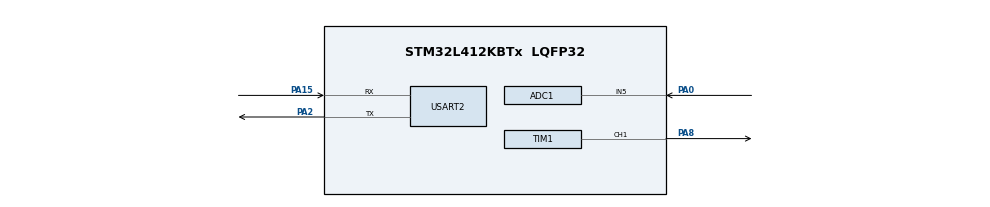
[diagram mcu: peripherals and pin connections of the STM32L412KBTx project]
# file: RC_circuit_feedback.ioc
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Mcu.Family=STM32L4
RCC.MSI_VALUE=4000000
ADC1.Rank-0\#ChannelRegularConversion=1
ADC1.ContinuousConvMode=ENABLE
ADC1.OffsetNumber-0\#ChannelRegularConversion=ADC_OFFSET_NONE
PA15\ (JTDI).Signal=USART2_RX
ProjectManager.StackSize=0x400
TIM1.AutoReloadPreload=TIM_AUTORELOAD_PRELOAD_ENABLE
PA15\ (JTDI).Mode=Asynchronous
TIM1.Prescaler=64
SH.S_TIM1_CH1.0=TIM1_CH1,PWM Generation1 CH1
ProjectManager.TargetToolchain=STM32CubeIDE
RCC.USBFreq_Value=4000000
RCC.LSE_VALUE=32768
ADC1.Channel-0\#ChannelRegularConversion=ADC_CHANNEL_5
RCC.HSE_VALUE=8000000
board=custom
USART2.VirtualMode-Asynchronous=VM_ASYNC
RCC.VCOOutputFreq_Value=32000000
PA0-CK_IN.Signal=ADCx_IN5
TIM1.Channel-PWM\ Generation1\ CH1=TIM_CHANNEL_1
RCC.ADCFreq_Value=4000000
PA8.Signal=S_TIM1_CH1
ADC1.DMAContinuousRequests=DISABLE
Mcu.Name=STM32L412KBTx
VP_TIM1_VS_ClockSourceINT.Mode=Internal
ADC1.SamplingTime-0\#ChannelRegularConversion=ADC_SAMPLETIME_2CYCLES_5
PA2.Signal=USART2_TX
Mcu.Package=LQFP32
ADC1.master=1
ProjectManager.HeapSize=0x200
RCC.HSI_VALUE=16000000
SH.ADCx_IN5.0=ADC1_IN5,IN5-Single-Ended
NVIC.PriorityGroup=NVIC_PRIORITYGROUP_4
ADC1.NbrOfConversionFlag=1
PA2.Mode=Asynchronous
RCC.HSI48_VALUE=48000000

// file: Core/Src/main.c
/* USER CODE BEGIN Header */
/**
  ******************************************************************************
  * @file           : main.c
  * @brief          : Main program body
  ******************************************************************************
  * @attention
  *
  * <h2><center>&copy; Copyright (c) 2023 STMicroelectronics.
  * All rights reserved.</center></h2>
  *
  * This software component is licensed by ST under BSD 3-Clause license,
  * the "License"; You may not use this file except in compliance with the
  * License. You may obtain a copy of the License at:
  *                        opensource.org/licenses/BSD-3-Clause
  *
  ******************************************************************************
  */
/* USER CODE END Header */
#include "main.h"

/* USER CODE BEGIN Includes */
#include "config.h"
#include "pwm_user.h"
#include "adc_user.h"
#include "messaging_user.h"
#include "pid_controller_user.h"
/* USER CODE END Includes */

/* USER CODE BEGIN PD */

#define SAMPLE_PERIOD_MS ( 1u )

/* USER CODE END PD */

ADC_HandleTypeDef hadc1;

TIM_HandleTypeDef htim1;

UART_HandleTypeDef huart2;

/* USER CODE BEGIN PV */

// Voltage values
float adc1_voltage[ADC_BUFFER_LENGTH] = {0.0f};

// If an RTOS was implemented, this may be replaced with a Semaphore
static bool data_to_process = false;

// Set when the ADC data has been processed
static bool queue_is_loaded = false;

// The voltage to achieve across the capacitor
float set_point = 3.6f;
float composite_term = 0.0f;
float adjusted_duty_cycle = 0.0f;

/* USER CODE END PV */

void SystemClock_Config(void);
static void MX_GPIO_Init(void);
static void MX_ADC1_Init(void);
static void MX_TIM1_Init(void);
static void MX_USART2_UART_Init(void);
/* USER CODE BEGIN PFP */

static float calculate_duty_cycle_from_error( float error );

/* USER CODE END PFP */

int main(void)
{

  /* MCU Configuration--------------------------------------------------------*/

  /* Reset of all peripherals, Initializes the Flash interface and the Systick. */
  HAL_Init();

  /* Configure the system clock */
  SystemClock_Config();

  /* Initialize all configured peripherals */
  MX_GPIO_Init();
  MX_ADC1_Init();
  MX_TIM1_Init();
  MX_USART2_UART_Init();
  /* USER CODE BEGIN 2 */

  // Initialize data structures in the ADC module
  adc_init_adc_module();

  // Start PWM
  HAL_StatusTypeDef status = HAL_TIM_PWM_Start( &htim1, TIM_CHANNEL_1 );
  assert( HAL_OK == status );

#ifdef TEST_MODE
  TIM1->CCR1 = pwm_calculate_CCRx( PWM_DUTY_CYCLE, PWM_ARRX );
#endif

  /* USER CODE END 2 */

  /* Infinite loop */
  /* USER CODE BEGIN WHILE */
  while (1)
  {
	if( data_to_process )
	{
		// Sampling
		process_adc_output_codes( adc1_voltage, ADC_BUFFER_LENGTH );
		data_to_process = false;

#ifndef TEST_MODE
		// Calculate and set duty cycle from the composite error term
		composite_term = calculate_composite( adc1_voltage, ADC_BUFFER_LENGTH, set_point );
		adjusted_duty_cycle = calculate_duty_cycle_from_error( composite_term );
		TIM1->CCR1 = pwm_calculate_CCRx( adjusted_duty_cycle, PWM_ARRX );
#endif

		// Data transfer
		convert_data_to_messages_and_queue( adc1_voltage, ADC_BUFFER_LENGTH );
		queue_is_loaded = true;
	}

	if( queue_is_loaded )
	{
		empty_queue( &huart2 );
		queue_is_loaded = false;
	}

	// Poll the ADC
	uint16_t conversion_result = poll_adc( &hadc1 );
	data_to_process = add_to_adc_buffer( conversion_result );

	// Wait until the next sample time
	HAL_Delay( SAMPLE_PERIOD_MS );
    /* USER CODE END WHILE */

  }
}

void SystemClock_Config(void)
{
  RCC_OscInitTypeDef RCC_OscInitStruct = {0};
  RCC_ClkInitTypeDef RCC_ClkInitStruct = {0};
  RCC_PeriphCLKInitTypeDef PeriphClkInit = {0};

  /** Configure the main internal regulator output voltage
  */
  if (HAL_PWREx_ControlVoltageScaling(PWR_REGULATOR_VOLTAGE_SCALE1) != HAL_OK)
  {
    Error_Handler();
  }
  /** Initializes the RCC Oscillators according to the specified parameters
  * in the RCC_OscInitTypeDef structure.
  */
  RCC_OscInitStruct.OscillatorType = RCC_OSCILLATORTYPE_MSI;
  RCC_OscInitStruct.MSIState = RCC_MSI_ON;
  RCC_OscInitStruct.MSICalibrationValue = 0;
  RCC_OscInitStruct.MSIClockRange = RCC_MSIRANGE_6;
  RCC_OscInitStruct.PLL.PLLState = RCC_PLL_NONE;
  if (HAL_RCC_OscConfig(&RCC_OscInitStruct) != HAL_OK)
  {
    Error_Handler();
  }
  /** Initializes the CPU, AHB and APB buses clocks
  */
  RCC_ClkInitStruct.ClockType = RCC_CLOCKTYPE_HCLK|RCC_CLOCKTYPE_SYSCLK
                              |RCC_CLOCKTYPE_PCLK1|RCC_CLOCKTYPE_PCLK2;
  RCC_ClkInitStruct.SYSCLKSource = RCC_SYSCLKSOURCE_MSI;
  RCC_ClkInitStruct.AHBCLKDivider = RCC_SYSCLK_DIV1;
  RCC_ClkInitStruct.APB1CLKDivider = RCC_HCLK_DIV1;
  RCC_ClkInitStruct.APB2CLKDivider = RCC_HCLK_DIV1;

  if (HAL_RCC_ClockConfig(&RCC_ClkInitStruct, FLASH_LATENCY_0) != HAL_OK)
  {
    Error_Handler();
  }
  PeriphClkInit.PeriphClockSelection = RCC_PERIPHCLK_USART2|RCC_PERIPHCLK_ADC;
  PeriphClkInit.Usart2ClockSelection = RCC_USART2CLKSOURCE_PCLK1;
  if (HAL_RCCEx_PeriphCLKConfig(&PeriphClkInit) != HAL_OK)
  {
    Error_Handler();
  }
}

static void MX_ADC1_Init(void)
{

  ADC_MultiModeTypeDef multimode = {0};
  ADC_ChannelConfTypeDef sConfig = {0};

  /** Common config
  */
  hadc1.Instance = ADC1;
  hadc1.Init.ClockPrescaler = ADC_CLOCK_ASYNC_DIV1;
  hadc1.Init.Resolution = ADC_RESOLUTION_12B;
  hadc1.Init.DataAlign = ADC_DATAALIGN_RIGHT;
  hadc1.Init.ScanConvMode = ADC_SCAN_DISABLE;
  hadc1.Init.EOCSelection = ADC_EOC_SINGLE_CONV;
  hadc1.Init.LowPowerAutoWait = DISABLE;
  hadc1.Init.ContinuousConvMode = ENABLE;
  hadc1.Init.NbrOfConversion = 1;
  hadc1.Init.DiscontinuousConvMode = DISABLE;
  hadc1.Init.ExternalTrigConv = ADC_SOFTWARE_START;
  hadc1.Init.ExternalTrigConvEdge = ADC_EXTERNALTRIGCONVEDGE_NONE;
  hadc1.Init.DMAContinuousRequests = DISABLE;
  hadc1.Init.Overrun = ADC_OVR_DATA_PRESERVED;
  hadc1.Init.OversamplingMode = DISABLE;
  if (HAL_ADC_Init(&hadc1) != HAL_OK)
  {
    Error_Handler();
  }
  /** Configure the ADC multi-mode
  */
  multimode.Mode = ADC_MODE_INDEPENDENT;
  if (HAL_ADCEx_MultiModeConfigChannel(&hadc1, &multimode) != HAL_OK)
  {
    Error_Handler();
  }
  /** Configure Regular Channel
  */
  sConfig.Channel = ADC_CHANNEL_5;
  sConfig.Rank = ADC_REGULAR_RANK_1;
  sConfig.SamplingTime = ADC_SAMPLETIME_2CYCLES_5;
  sConfig.SingleDiff = ADC_SINGLE_ENDED;
  sConfig.OffsetNumber = ADC_OFFSET_NONE;
  sConfig.Offset = 0;
  if (HAL_ADC_ConfigChannel(&hadc1, &sConfig) != HAL_OK)
  {
    Error_Handler();
  }

}

static void MX_TIM1_Init(void)
{

  TIM_ClockConfigTypeDef sClockSourceConfig = {0};
  TIM_MasterConfigTypeDef sMasterConfig = {0};
  TIM_OC_InitTypeDef sConfigOC = {0};
  TIM_BreakDeadTimeConfigTypeDef sBreakDeadTimeConfig = {0};

  /* USER CODE BEGIN TIM1_Init 1 */
  uint32_t prescaler = pwm_calculate_prescaler( PWM_CLOCK_FREQUENCY_HZ, PWM_PULSE_FREQUENCY_HZ, PWM_ARRX );
  /* USER CODE END TIM1_Init 1 */
  htim1.Instance = TIM1;
  htim1.Init.Prescaler = prescaler;
  htim1.Init.CounterMode = TIM_COUNTERMODE_UP;
  htim1.Init.Period = 65535;
  htim1.Init.ClockDivision = TIM_CLOCKDIVISION_DIV1;
  htim1.Init.RepetitionCounter = 0;
  htim1.Init.AutoReloadPreload = TIM_AUTORELOAD_PRELOAD_ENABLE;
  if (HAL_TIM_Base_Init(&htim1) != HAL_OK)
  {
    Error_Handler();
  }
  sClockSourceConfig.ClockSource = TIM_CLOCKSOURCE_INTERNAL;
  if (HAL_TIM_ConfigClockSource(&htim1, &sClockSourceConfig) != HAL_OK)
  {
    Error_Handler();
  }
  if (HAL_TIM_PWM_Init(&htim1) != HAL_OK)
  {
    Error_Handler();
  }
  sMasterConfig.MasterOutputTrigger = TIM_TRGO_RESET;
  sMasterConfig.MasterOutputTrigger2 = TIM_TRGO2_RESET;
  sMasterConfig.MasterSlaveMode = TIM_MASTERSLAVEMODE_DISABLE;
  if (HAL_TIMEx_MasterConfigSynchronization(&htim1, &sMasterConfig) != HAL_OK)
  {
    Error_Handler();
  }
  sConfigOC.OCMode = TIM_OCMODE_PWM1;
  sConfigOC.Pulse = 0;
  sConfigOC.OCPolarity = TIM_OCPOLARITY_HIGH;
  sConfigOC.OCNPolarity = TIM_OCNPOLARITY_HIGH;
  sConfigOC.OCFastMode = TIM_OCFAST_DISABLE;
  sConfigOC.OCIdleState = TIM_OCIDLESTATE_RESET;
  sConfigOC.OCNIdleState = TIM_OCNIDLESTATE_RESET;
  if (HAL_TIM_PWM_ConfigChannel(&htim1, &sConfigOC, TIM_CHANNEL_1) != HAL_OK)
  {
    Error_Handler();
  }
  sBreakDeadTimeConfig.OffStateRunMode = TIM_OSSR_DISABLE;
  sBreakDeadTimeConfig.OffStateIDLEMode = TIM_OSSI_DISABLE;
  sBreakDeadTimeConfig.LockLevel = TIM_LOCKLEVEL_OFF;
  sBreakDeadTimeConfig.DeadTime = 0;
  sBreakDeadTimeConfig.BreakState = TIM_BREAK_DISABLE;
  sBreakDeadTimeConfig.BreakPolarity = TIM_BREAKPOLARITY_HIGH;
  sBreakDeadTimeConfig.BreakFilter = 0;
  sBreakDeadTimeConfig.Break2State = TIM_BREAK2_DISABLE;
  sBreakDeadTimeConfig.Break2Polarity = TIM_BREAK2POLARITY_HIGH;
  sBreakDeadTimeConfig.Break2Filter = 0;
  sBreakDeadTimeConfig.AutomaticOutput = TIM_AUTOMATICOUTPUT_DISABLE;
  if (HAL_TIMEx_ConfigBreakDeadTime(&htim1, &sBreakDeadTimeConfig) != HAL_OK)
  {
    Error_Handler();
  }
  HAL_TIM_MspPostInit(&htim1);

}

static void MX_USART2_UART_Init(void)
{

  huart2.Instance = USART2;
  huart2.Init.BaudRate = 115200;
  huart2.Init.WordLength = UART_WORDLENGTH_8B;
  huart2.Init.StopBits = UART_STOPBITS_1;
  huart2.Init.Parity = UART_PARITY_NONE;
  huart2.Init.Mode = UART_MODE_TX_RX;
  huart2.Init.HwFlowCtl = UART_HWCONTROL_NONE;
  huart2.Init.OverSampling = UART_OVERSAMPLING_16;
  huart2.Init.OneBitSampling = UART_ONE_BIT_SAMPLE_DISABLE;
  huart2.AdvancedInit.AdvFeatureInit = UART_ADVFEATURE_NO_INIT;
  if (HAL_UART_Init(&huart2) != HAL_OK)
  {
    Error_Handler();
  }

}

static void MX_GPIO_Init(void)
{

  /* GPIO Ports Clock Enable */
  __HAL_RCC_GPIOA_CLK_ENABLE();

}

/* USER CODE BEGIN 4 */

/*
 * Feedback
 */

static float calculate_duty_cycle_from_error( float error )
{
	float duty_cycle = 0.0f;
	if( MAX_ERROR == error )
	{
		duty_cycle = 1.00f;
	}
	else
	{
		duty_cycle = ( error / MAX_ERROR );
	}
	return duty_cycle;
}

/* USER CODE END 4 */

void Error_Handler(void)
{
  __disable_irq();
  while (1)
  {
  }
}

#ifdef  USE_FULL_ASSERT
/**
  * @brief  Reports the name of the source file and the source line number
  *         where the assert_param error has occurred.
  * @param  file: pointer to the source file name
  * @param  line: assert_param error line source number
  * @retval None
  */
void assert_failed(uint8_t *file, uint32_t line)
{
  /* USER CODE BEGIN 6 */
  /* User can add his own implementation to report the file name and line number,
     ex: printf("Wrong parameters value: file %s on line %d\r\n", file, line) */
  while(true);
  /* USER CODE END 6 */
}
#endif /* USE_FULL_ASSERT */

/************************ (C) COPYRIGHT STMicroelectronics *****END OF FILE****/
